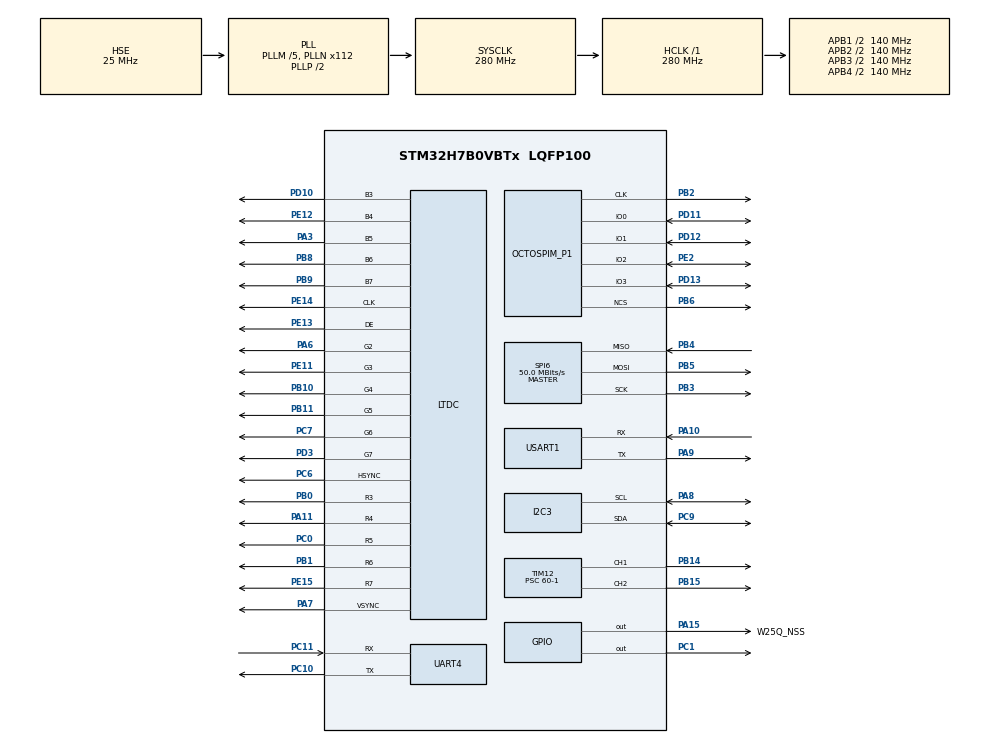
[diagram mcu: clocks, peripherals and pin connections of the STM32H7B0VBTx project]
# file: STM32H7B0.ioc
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ADC2.AWD1HighThreshold=0x3ffffff
ADC2.AWD1ITMode=ENABLE
ADC2.AWD1LowThreshold=0x4ccc
ADC2.Channel-0\#ChannelRegularConversion=ADC_CHANNEL_TEMPSENSOR
ADC2.ClockPrescaler=ADC_CLOCK_ASYNC_DIV8
ADC2.ContinuousConvMode=ENABLE
ADC2.EnableAnalogWatchDog1=true
ADC2.NbrOfConversionFlag=1
ADC2.OffsetNumber-0\#ChannelRegularConversion=ADC_OFFSET_NONE
ADC2.OffsetSignedSaturation-0\#ChannelRegularConversion=DISABLE
ADC2.Rank-0\#ChannelRegularConversion=1
ADC2.SamplingTime-0\#ChannelRegularConversion=ADC_SAMPLETIME_1CYCLE_5
ADC2.WatchdogChannel=ADC_CHANNEL_TEMPSENSOR
Bdma2.Request0=SPI6_TX
Bdma2.Request1=SPI6_RX
Bdma2.RequestsNb=2
Bdma2.SPI6_RX.1.Direction=DMA_PERIPH_TO_MEMORY
Bdma2.SPI6_RX.1.EventEnable=DISABLE
Bdma2.SPI6_RX.1.Instance=BDMA2_Channel2
Bdma2.SPI6_RX.1.MemDataAlignment=DMA_MDATAALIGN_BYTE
Bdma2.SPI6_RX.1.MemInc=DMA_MINC_ENABLE
Bdma2.SPI6_RX.1.Mode=DMA_NORMAL
Bdma2.SPI6_RX.1.PeriphDataAlignment=DMA_PDATAALIGN_BYTE
Bdma2.SPI6_RX.1.PeriphInc=DMA_PINC_DISABLE
Bdma2.SPI6_RX.1.Polarity=HAL_DMAMUX_REQ_GEN_RISING
Bdma2.SPI6_RX.1.Priority=DMA_PRIORITY_MEDIUM
Bdma2.SPI6_RX.1.RequestNumber=1
Bdma2.SPI6_RX.1.SignalID=NONE
Bdma2.SPI6_RX.1.SyncEnable=DISABLE
Bdma2.SPI6_RX.1.SyncPolarity=HAL_DMAMUX_SYNC_NO_EVENT
Bdma2.SPI6_RX.1.SyncRequestNumber=1
Bdma2.SPI6_RX.1.SyncSignalID=NONE
Bdma2.SPI6_TX.0.Direction=DMA_MEMORY_TO_PERIPH
Bdma2.SPI6_TX.0.EventEnable=DISABLE
Bdma2.SPI6_TX.0.Instance=BDMA2_Channel3
Bdma2.SPI6_TX.0.MemDataAlignment=DMA_MDATAALIGN_BYTE
Bdma2.SPI6_TX.0.MemInc=DMA_MINC_ENABLE
Bdma2.SPI6_TX.0.Mode=DMA_NORMAL
Bdma2.SPI6_TX.0.PeriphDataAlignment=DMA_PDATAALIGN_BYTE
Bdma2.SPI6_TX.0.PeriphInc=DMA_PINC_DISABLE
Bdma2.SPI6_TX.0.Polarity=HAL_DMAMUX_REQ_GEN_RISING
Bdma2.SPI6_TX.0.Priority=DMA_PRIORITY_MEDIUM
Bdma2.SPI6_TX.0.RequestNumber=1
Bdma2.SPI6_TX.0.SignalID=NONE
Bdma2.SPI6_TX.0.SyncEnable=DISABLE
Bdma2.SPI6_TX.0.SyncPolarity=HAL_DMAMUX_SYNC_NO_EVENT
Bdma2.SPI6_TX.0.SyncRequestNumber=1
Bdma2.SPI6_TX.0.SyncSignalID=NONE
CORTEX_M7.CPU_DCache=Enabled
CORTEX_M7.CPU_ICache=Enabled
CORTEX_M7.default_mode_Activation=0
DMA2D.ColorMode=DMA2D_OUTPUT_RGB565
Dma.ADC2.0.Direction=DMA_PERIPH_TO_MEMORY
Dma.ADC2.0.EventEnable=DISABLE
Dma.ADC2.0.FIFOMode=DMA_FIFOMODE_DISABLE
Dma.ADC2.0.Instance=DMA1_Stream0
Dma.ADC2.0.MemDataAlignment=DMA_MDATAALIGN_HALFWORD
Dma.ADC2.0.MemInc=DMA_MINC_ENABLE
Dma.ADC2.0.Mode=DMA_NORMAL
Dma.ADC2.0.PeriphDataAlignment=DMA_PDATAALIGN_HALFWORD
Dma.ADC2.0.PeriphInc=DMA_PINC_DISABLE
Dma.ADC2.0.Polarity=HAL_DMAMUX_REQ_GEN_RISING
Dma.ADC2.0.Priority=DMA_PRIORITY_LOW
Dma.ADC2.0.RequestNumber=1
Dma.ADC2.0.SignalID=NONE
Dma.ADC2.0.SyncEnable=DISABLE
Dma.ADC2.0.SyncPolarity=HAL_DMAMUX_SYNC_NO_EVENT
Dma.ADC2.0.SyncRequestNumber=1
Dma.ADC2.0.SyncSignalID=NONE
Dma.I2C3_RX.4.Direction=DMA_PERIPH_TO_MEMORY
Dma.I2C3_RX.4.EventEnable=DISABLE
Dma.I2C3_RX.4.FIFOMode=DMA_FIFOMODE_DISABLE
Dma.I2C3_RX.4.Instance=DMA1_Stream4
Dma.I2C3_RX.4.MemDataAlignment=DMA_MDATAALIGN_BYTE
Dma.I2C3_RX.4.MemInc=DMA_MINC_ENABLE
Dma.I2C3_RX.4.Mode=DMA_CIRCULAR
Dma.I2C3_RX.4.PeriphDataAlignment=DMA_PDATAALIGN_BYTE
Dma.I2C3_RX.4.PeriphInc=DMA_PINC_DISABLE
Dma.I2C3_RX.4.Polarity=HAL_DMAMUX_REQ_GEN_RISING
Dma.I2C3_RX.4.Priority=DMA_PRIORITY_LOW
Dma.I2C3_RX.4.RequestNumber=1
Dma.I2C3_RX.4.SignalID=NONE
Dma.I2C3_RX.4.SyncEnable=DISABLE
Dma.I2C3_RX.4.SyncPolarity=HAL_DMAMUX_SYNC_NO_EVENT
Dma.I2C3_RX.4.SyncRequestNumber=1
Dma.I2C3_RX.4.SyncSignalID=NONE
Dma.I2C3_TX.3.Direction=DMA_MEMORY_TO_PERIPH
Dma.I2C3_TX.3.EventEnable=DISABLE
Dma.I2C3_TX.3.FIFOMode=DMA_FIFOMODE_DISABLE
Dma.I2C3_TX.3.Instance=DMA1_Stream3
Dma.I2C3_TX.3.MemDataAlignment=DMA_MDATAALIGN_BYTE
Dma.I2C3_TX.3.MemInc=DMA_MINC_ENABLE
Dma.I2C3_TX.3.Mode=DMA_NORMAL
Dma.I2C3_TX.3.PeriphDataAlignment=DMA_PDATAALIGN_BYTE
Dma.I2C3_TX.3.PeriphInc=DMA_PINC_DISABLE
Dma.I2C3_TX.3.Polarity=HAL_DMAMUX_REQ_GEN_RISING
Dma.I2C3_TX.3.Priority=DMA_PRIORITY_LOW
Dma.I2C3_TX.3.RequestNumber=1
Dma.I2C3_TX.3.SignalID=NONE
Dma.I2C3_TX.3.SyncEnable=DISABLE
Dma.I2C3_TX.3.SyncPolarity=HAL_DMAMUX_SYNC_NO_EVENT
Dma.I2C3_TX.3.SyncRequestNumber=1
Dma.I2C3_TX.3.SyncSignalID=NONE
Dma.Request0=ADC2
Dma.Request1=USART1_RX
Dma.Request2=USART1_TX
Dma.Request3=I2C3_TX
Dma.Request4=I2C3_RX
Dma.Request5=UART4_RX
Dma.Request6=UART4_TX
Dma.UART4_RX.5.Direction=DMA_PERIPH_TO_MEMORY
Dma.UART4_RX.5.EventEnable=DISABLE
Dma.UART4_RX.5.FIFOMode=DMA_FIFOMODE_DISABLE
Dma.UART4_RX.5.Instance=DMA1_Stream5
Dma.UART4_RX.5.MemDataAlignment=DMA_MDATAALIGN_BYTE
Dma.UART4_RX.5.MemInc=DMA_MINC_ENABLE
Dma.UART4_RX.5.Mode=DMA_CIRCULAR
Dma.UART4_RX.5.PeriphDataAlignment=DMA_PDATAALIGN_BYTE
Dma.UART4_RX.5.PeriphInc=DMA_PINC_DISABLE
Dma.UART4_RX.5.Polarity=HAL_DMAMUX_REQ_GEN_RISING
Dma.UART4_RX.5.Priority=DMA_PRIORITY_LOW
Dma.UART4_RX.5.RequestNumber=1
Dma.UART4_RX.5.SignalID=NONE
Dma.UART4_RX.5.SyncEnable=DISABLE
Dma.UART4_RX.5.SyncPolarity=HAL_DMAMUX_SYNC_NO_EVENT
Dma.UART4_RX.5.SyncRequestNumber=1
Dma.UART4_RX.5.SyncSignalID=NONE
Dma.UART4_TX.6.Direction=DMA_MEMORY_TO_PERIPH
Dma.UART4_TX.6.EventEnable=DISABLE
Dma.UART4_TX.6.FIFOMode=DMA_FIFOMODE_DISABLE
Dma.UART4_TX.6.Instance=DMA1_Stream6
Dma.UART4_TX.6.MemDataAlignment=DMA_MDATAALIGN_BYTE
Dma.UART4_TX.6.MemInc=DMA_MINC_ENABLE
Dma.UART4_TX.6.Mode=DMA_NORMAL
Dma.UART4_TX.6.PeriphDataAlignment=DMA_PDATAALIGN_BYTE
Dma.UART4_TX.6.PeriphInc=DMA_PINC_DISABLE
Dma.UART4_TX.6.Polarity=HAL_DMAMUX_REQ_GEN_RISING
Dma.UART4_TX.6.Priority=DMA_PRIORITY_LOW
Dma.UART4_TX.6.RequestNumber=1
Dma.UART4_TX.6.SignalID=NONE
Dma.UART4_TX.6.SyncEnable=DISABLE
Dma.UART4_TX.6.SyncPolarity=HAL_DMAMUX_SYNC_NO_EVENT
Dma.UART4_TX.6.SyncRequestNumber=1
Dma.UART4_TX.6.SyncSignalID=NONE
Dma.USART1_RX.1.Direction=DMA_PERIPH_TO_MEMORY
Dma.USART1_RX.1.EventEnable=DISABLE
Dma.USART1_RX.1.FIFOMode=DMA_FIFOMODE_DISABLE
Dma.USART1_RX.1.Instance=DMA1_Stream1
Dma.USART1_RX.1.MemDataAlignment=DMA_MDATAALIGN_BYTE
Dma.USART1_RX.1.MemInc=DMA_MINC_ENABLE
Dma.USART1_RX.1.Mode=DMA_CIRCULAR
Dma.USART1_RX.1.PeriphDataAlignment=DMA_PDATAALIGN_BYTE
Dma.USART1_RX.1.PeriphInc=DMA_PINC_DISABLE
Dma.USART1_RX.1.Polarity=HAL_DMAMUX_REQ_GEN_RISING
Dma.USART1_RX.1.Priority=DMA_PRIORITY_MEDIUM
Dma.USART1_RX.1.RequestNumber=1
Dma.USART1_RX.1.SignalID=NONE
Dma.USART1_RX.1.SyncEnable=DISABLE
Dma.USART1_RX.1.SyncPolarity=HAL_DMAMUX_SYNC_NO_EVENT
Dma.USART1_RX.1.SyncRequestNumber=1
Dma.USART1_RX.1.SyncSignalID=NONE
Dma.USART1_TX.2.Direction=DMA_MEMORY_TO_PERIPH
Dma.USART1_TX.2.EventEnable=DISABLE
Dma.USART1_TX.2.FIFOMode=DMA_FIFOMODE_DISABLE
Dma.USART1_TX.2.Instance=DMA1_Stream2
Dma.USART1_TX.2.MemDataAlignment=DMA_MDATAALIGN_BYTE
Dma.USART1_TX.2.MemInc=DMA_MINC_ENABLE
Dma.USART1_TX.2.Mode=DMA_NORMAL
Dma.USART1_TX.2.PeriphDataAlignment=DMA_PDATAALIGN_BYTE
Dma.USART1_TX.2.PeriphInc=DMA_PINC_DISABLE
Dma.USART1_TX.2.Polarity=HAL_DMAMUX_REQ_GEN_RISING
Dma.USART1_TX.2.Priority=DMA_PRIORITY_MEDIUM
Dma.USART1_TX.2.RequestNumber=1
Dma.USART1_TX.2.SignalID=NONE
Dma.USART1_TX.2.SyncEnable=DISABLE
Dma.USART1_TX.2.SyncPolarity=HAL_DMAMUX_SYNC_NO_EVENT
Dma.USART1_TX.2.SyncRequestNumber=1
Dma.USART1_TX.2.SyncSignalID=NONE
FREERTOS.BinarySemaphores01=BinarySem_DebugOutPut,Dynamic,NULL
FREERTOS.Events01=Event_lowPower,Dynamic,NULL
FREERTOS.INCLUDE_xEventGroupSetBitFromISR=1
FREERTOS.Mutexes01=Mutex_Usart1,Dynamic,NULL
FREERTOS.Tasks01=defaultTask,24,128,StartDefaultTask,As weak,NULL,Dynamic,NULL,NULL;testTask,48,128,StartTasktest,As weak,NULL,Static,testTaskBuffer,testTaskControlBlock;lowPowerTask,24,128,StartTask_lowPower,As weak,NULL,Dynamic,NULL,NULL
FREERTOS.configENABLE_FPU=1
I2C3.Timing=0x20B0CCFF
LTDC.ActiveH=480
LTDC.ActiveW=800
LTDC.Alpha_L0=255
LTDC.FBStartAdress_L0=0x24000000
LTDC.HBP=80
LTDC.HFP=200
LTDC.HSync=1
LTDC.ImageHeight_L0=480
LTDC.ImageWidth_L0=800
LTDC.Layers=0
LTDC.PixelFormat_L0=LTDC_PIXEL_FORMAT_RGB565
LTDC.VBP=40
LTDC.VFP=22
LTDC.VSync=1
LTDC.WindowX1_L0=800
LTDC.WindowY1_L0=480
Mcu.Family=STM32H7
Mcu.Name=STM32H7B0VBTx
Mcu.Package=LQFP100
NVIC.ADC_IRQn=true\:5\:0\:false\:false\:true\:true\:true\:true\:true
NVIC.BDMA2_Channel2_IRQn=true\:5\:0\:false\:false\:true\:true\:false\:true\:true
NVIC.BDMA2_Channel3_IRQn=true\:5\:0\:false\:false\:true\:true\:false\:true\:true
NVIC.DMA1_Stream0_IRQn=true\:9\:0\:true\:false\:true\:true\:false\:true\:true
NVIC.DMA1_Stream1_IRQn=true\:9\:0\:true\:false\:true\:true\:false\:true\:true
NVIC.DMA1_Stream2_IRQn=true\:9\:0\:true\:false\:true\:true\:false\:true\:true
NVIC.DMA1_Stream3_IRQn=true\:5\:0\:false\:false\:true\:true\:false\:true\:true
NVIC.DMA1_Stream4_IRQn=true\:5\:0\:false\:false\:true\:true\:false\:true\:true
NVIC.DMA1_Stream5_IRQn=true\:5\:0\:false\:false\:true\:true\:false\:true\:true
NVIC.DMA1_Stream6_IRQn=true\:5\:0\:false\:false\:true\:true\:false\:true\:true
NVIC.DMA2D_IRQn=true\:6\:0\:true\:false\:true\:true\:true\:true\:true
NVIC.I2C3_ER_IRQn=true\:5\:0\:false\:false\:true\:true\:true\:true\:true
NVIC.I2C3_EV_IRQn=true\:5\:0\:false\:false\:true\:true\:true\:true\:true
NVIC.LTDC_IRQn=true\:6\:0\:true\:false\:true\:true\:true\:true\:true
NVIC.PriorityGroup=NVIC_PRIORITYGROUP_4
NVIC.SPI6_IRQn=true\:5\:0\:false\:false\:true\:true\:true\:true\:true
NVIC.TIM17_IRQn=true\:0\:0\:true\:false\:true\:false\:false\:true\:true
NVIC.TimeBase=TIM17_IRQn
NVIC.TimeBaseIP=TIM17
NVIC.UART4_IRQn=true\:5\:0\:false\:false\:true\:true\:true\:true\:true
NVIC.USART1_IRQn=true\:5\:0\:false\:false\:true\:true\:true\:true\:true
OCTOSPI1.ChipSelectBoundary=0
OCTOSPI1.ClockMode=HAL_OSPI_CLOCK_MODE_3
OCTOSPI1.ClockPrescaler=2
OCTOSPI1.DeviceSize=23
OCTOSPI1.FifoThreshold=8
OCTOSPI1.SampleShifting=HAL_OSPI_SAMPLE_SHIFTING_HALFCYCLE
PA10.Mode=Asynchronous
PA10.Signal=USART1_RX
PA11.GPIO_Speed=GPIO_SPEED_FREQ_VERY_HIGH
PA11.Mode=RGB565
PA11.Signal=LTDC_R4
PA15.GPIO_Label=W25Q_NSS
PA15.GPIO_Speed=GPIO_SPEED_FREQ_VERY_HIGH
PA15.PinState=GPIO_PIN_SET
PA15.Signal=GPIO_Output
PA3.GPIO_Speed=GPIO_SPEED_FREQ_VERY_HIGH
PA3.Mode=RGB565
PA3.Signal=LTDC_B5
PA6.GPIO_Speed=GPIO_SPEED_FREQ_VERY_HIGH
PA6.Mode=RGB565
PA6.Signal=LTDC_G2
PA7.GPIO_Speed=GPIO_SPEED_FREQ_VERY_HIGH
PA7.Mode=RGB565
PA7.Signal=LTDC_VSYNC
PA8.Mode=I2C
PA8.Signal=I2C3_SCL
PA9.Mode=Asynchronous
PA9.Signal=USART1_TX
PB0.GPIO_Speed=GPIO_SPEED_FREQ_VERY_HIGH
PB0.Mode=RGB565
PB0.Signal=LTDC_R3
PB1.GPIO_Speed=GPIO_SPEED_FREQ_VERY_HIGH
PB1.Mode=RGB565
PB1.Signal=LTDC_R6
PB10.GPIO_Speed=GPIO_SPEED_FREQ_VERY_HIGH
PB10.Mode=RGB565
PB10.Signal=LTDC_G4
PB11.GPIO_Speed=GPIO_SPEED_FREQ_VERY_HIGH
PB11.Mode=RGB565
PB11.Signal=LTDC_G5
PB14.Signal=S_TIM12_CH1
PB15.Signal=S_TIM12_CH2
PB2.Mode=O1_P1_CLK
PB2.Signal=OCTOSPIM_P1_CLK
PB3.GPIO_Speed=GPIO_SPEED_FREQ_VERY_HIGH
PB3.Mode=Full_Duplex_Master
PB3.Signal=SPI6_SCK
PB4.GPIO_Speed=GPIO_SPEED_FREQ_VERY_HIGH
PB4.Mode=Full_Duplex_Master
PB4.Signal=SPI6_MISO
PB5.GPIO_Speed=GPIO_SPEED_FREQ_VERY_HIGH
PB5.Mode=Full_Duplex_Master
PB5.Signal=SPI6_MOSI
PB6.Mode=OCTOSPI1_Port1_NCS
PB6.Signal=OCTOSPIM_P1_NCS
PB8.GPIO_Speed=GPIO_SPEED_FREQ_VERY_HIGH
PB8.Mode=RGB565
PB8.Signal=LTDC_B6
PB9.GPIO_Speed=GPIO_SPEED_FREQ_VERY_HIGH
PB9.Mode=RGB565
PB9.Signal=LTDC_B7
PC0.GPIO_Speed=GPIO_SPEED_FREQ_VERY_HIGH
PC0.Mode=RGB565
PC0.Signal=LTDC_R5
PC1.Signal=GPIO_Output
PC10.Mode=Asynchronous
PC10.Signal=UART4_TX
PC11.Mode=Asynchronous
PC11.Signal=UART4_RX
PC14-OSC32_IN.Mode=LSE-External-Oscillator
PC14-OSC32_IN.Signal=RCC_OSC32_IN
PC15-OSC32_OUT.Mode=LSE-External-Oscillator
PC15-OSC32_OUT.Signal=RCC_OSC32_OUT
PC6.GPIO_Speed=GPIO_SPEED_FREQ_VERY_HIGH
PC6.Mode=RGB565
PC6.Signal=LTDC_HSYNC
PC7.GPIO_Speed=GPIO_SPEED_FREQ_VERY_HIGH
PC7.Mode=RGB565
PC7.Signal=LTDC_G6
PC9.Mode=I2C
PC9.Signal=I2C3_SDA
PD10.GPIO_Speed=GPIO_SPEED_FREQ_VERY_HIGH
PD10.Mode=RGB565
PD10.Signal=LTDC_B3
PD11.Mode=OCTOSPI1_IOL_Port1L
PD11.Signal=OCTOSPIM_P1_IO0
PD12.Mode=OCTOSPI1_IOL_Port1L
PD12.Signal=OCTOSPIM_P1_IO1
PD13.Mode=OCTOSPI1_IOL_Port1L
PD13.Signal=OCTOSPIM_P1_IO3
PD3.GPIO_Speed=GPIO_SPEED_FREQ_VERY_HIGH
PD3.Mode=RGB565
PD3.Signal=LTDC_G7
PD5.Signal=USART2_TX
PE11.GPIO_Speed=GPIO_SPEED_FREQ_VERY_HIGH
PE11.Mode=RGB565
PE11.Signal=LTDC_G3
PE12.GPIO_Speed=GPIO_SPEED_FREQ_VERY_HIGH
PE12.Mode=RGB565
PE12.Signal=LTDC_B4
PE13.GPIO_Speed=GPIO_SPEED_FREQ_VERY_HIGH
PE13.Mode=RGB565
PE13.Signal=LTDC_DE
PE14.GPIO_Speed=GPIO_SPEED_FREQ_VERY_HIGH
PE14.Mode=RGB565
PE14.Signal=LTDC_CLK
PE15.GPIO_Speed=GPIO_SPEED_FREQ_VERY_HIGH
PE15.Mode=RGB565
PE15.Signal=LTDC_R7
PE2.Mode=OCTOSPI1_IOL_Port1L
PE2.Signal=OCTOSPIM_P1_IO2
PH0-OSC_IN.Mode=HSE-External-Oscillator
PH0-OSC_IN.Signal=RCC_OSC_IN
PH1-OSC_OUT.Mode=HSE-External-Oscillator
PH1-OSC_OUT.Signal=RCC_OSC_OUT
ProjectManager.HeapSize=0x16000
ProjectManager.StackSize=0x12000
ProjectManager.TargetToolchain=MDK-ARM V5.32
RCC.ADCFreq_Value=20000000
RCC.APB1Freq_Value=140000000
RCC.APB2Freq_Value=140000000
RCC.APB3Freq_Value=140000000
RCC.APB4Freq_Value=140000000
RCC.CDPPRE=RCC_APB3_DIV2
RCC.CDPPRE1=RCC_APB1_DIV2
RCC.CDPPRE2=RCC_APB2_DIV2
RCC.CortexFreq_Value=280000000
RCC.DIVM1=5
RCC.DIVM2=2
RCC.DIVM3=2
RCC.DIVN1=112
RCC.DIVN2=40
RCC.DIVN3=11
RCC.DIVP2=25
RCC.DIVQ2=5
RCC.DIVR3=1
RCC.HCLKFreq_Value=280000000
RCC.HSE_VALUE=25000000
RCC.PLL1_VCI_Range-AdvancedSettings=RCC_PLL1VCIRANGE_0
RCC.PLL2_VCI_Range-AdvancedSettings=RCC_PLL2VCIRANGE_1
RCC.PLL2_VCO_SEL-AdvancedSettings=RCC_PLL2VCOMEDIUM
RCC.PLLSourceVirtual=RCC_PLLSOURCE_HSE
RCC.SPI6CLockSelection=RCC_SPI6CLKSOURCE_PLL2
RCC.SRDPPRE=RCC_APB4_DIV2
RCC.SYSCLKFreq_VALUE=280000000
RCC.SYSCLKSource=RCC_SYSCLKSOURCE_PLLCLK
RCC.SupplySource=PWR_LDO_SUPPLY
RCC.USBFreq_Value=280000000
SH.S_TIM12_CH1.0=TIM12_CH1,PWM Generation1 CH1
SH.S_TIM12_CH2.0=TIM12_CH2,PWM Generation2 CH2
SPI6.BaudRatePrescaler=SPI_BAUDRATEPRESCALER_2
SPI6.CalculateBaudRate=50.0 MBits/s
SPI6.DataSize=SPI_DATASIZE_8BIT
SPI6.Direction=SPI_DIRECTION_2LINES
SPI6.FifoThreshold=SPI_FIFO_THRESHOLD_01DATA
SPI6.MasterKeepIOState=SPI_MASTER_KEEP_IO_STATE_DISABLE
SPI6.Mode=SPI_MODE_MASTER
SPI6.NSSPMode=SPI_NSS_PULSE_DISABLE
SPI6.VirtualType=VM_MASTER
TIM12.AutoReloadPreload=TIM_AUTORELOAD_PRELOAD_ENABLE
TIM12.Channel-PWM\ Generation1\ CH1=TIM_CHANNEL_1
TIM12.Channel-PWM\ Generation2\ CH2=TIM_CHANNEL_2
TIM12.Period=10000-1
TIM12.Prescaler=60-1
TIM12.Pulse-PWM\ Generation1\ CH1=4999
TIM12.Pulse-PWM\ Generation2\ CH2=4999
USART1.VirtualMode-Asynchronous=VM_ASYNC
VP_ADC2_TempSens_Input.Mode=IN-TempSens
VP_DMA2D_VS_DMA2D.Mode=DMA2D_Activate
VP_FREERTOS_VS_CMSIS_V2.Mode=CMSIS_V2
VP_OCTOSPI1_VS_quad.Mode=quad_mode
VP_SYS_VS_tim17.Mode=TIM17
VP_TIM12_VS_ClockSourceINT.Mode=Internal
board=custom

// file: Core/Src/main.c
/* USER CODE BEGIN Header */
/**
  ******************************************************************************
  * @file           : main.c
  * @brief          : Main program body
  ******************************************************************************
  * @attention
  *
  * Copyright (c) 2023 STMicroelectronics.
  * All rights reserved.
  *
  * This software is licensed under terms that can be found in the LICENSE file
  * in the root directory of this software component.
  * If no LICENSE file comes with this software, it is provided AS-IS.
  *
  ******************************************************************************
  */
/* USER CODE END Header */
#include "main.h"
#include "cmsis_os.h"
#include "adc.h"
#include "bdma2.h"
#include "dma.h"
#include "dma2d.h"
#include "i2c.h"
#include "ltdc.h"
#include "octospi.h"
#include "spi.h"
#include "tim.h"
#include "usart.h"
#include "gpio.h"

/* USER CODE BEGIN Includes */
#include "led.h"
#include "kfifo.h"
#include "klist.h"
#include "common.h"
#include "com_component.h"
#include "shell_port.h"
#include "shell_port.h"
#include "perf_counter.h"

#define LOG_TAG    "main"
#include <elog.h>
#include "led.h"
#include "common.h"
#include "sfud.h"
#include "flashdb.h"
#include "fal.h"
#include "semphr.h"
#include "adc.h"
#include "usart.h"
#include "com_component.h"
#include "perf_counter.h"

//#include "cm_backtrace.h"

/* USER CODE END Includes */

/* USER CODE BEGIN PV */
//		 extern com_uart_t com;
/* USER CODE END PV */

void SystemClock_Config(void);
void PeriphCommonClock_Config(void);
void MX_FREERTOS_Init(void);

int main(void)
{
  /* USER CODE BEGIN 1 */
//cm_backtrace_init("0.1","0.1","0.1");
  /* USER CODE END 1 */

  /* Enable I-Cache---------------------------------------------------------*/
  SCB_EnableICache();

  /* Enable D-Cache---------------------------------------------------------*/
  SCB_EnableDCache();

  /* MCU Configuration--------------------------------------------------------*/

  /* Reset of all peripherals, Initializes the Flash interface and the Systick. */
  HAL_Init();

  /* USER CODE BEGIN Init */
	SCB->CACR|=1<<2;

  /* USER CODE END Init */

  /* Configure the system clock */
  SystemClock_Config();

/* Configure the peripherals common clocks */
  PeriphCommonClock_Config();

  /* Initialize all configured peripherals */
  MX_GPIO_Init();
  MX_DMA_Init();
  MX_BDMA2_Init();
  MX_DMA2D_Init();
  MX_LTDC_Init();
  MX_I2C3_Init();
  MX_SPI6_Init();
  MX_ADC2_Init();
  MX_USART1_UART_Init();
  MX_OCTOSPI1_Init();
  MX_UART4_Init();
  MX_TIM12_Init();
  /* USER CODE BEGIN 2 */

	    //! setup system clock

    /*! \brief Update SystemCoreClock with the latest CPU frequency
     *!        If the function doesn't exist or doesn't work correctly,
     *!        Please update SystemCoreClock directly with the correct
     *!        system frequency in Hz.
     *!
     *!        extern volatile uint32_t SystemCoreClock;
     */
    SystemCoreClockUpdate();

    /*! \brief initialize perf_counter() and pass true if SysTick is
     *!        occupied by user applications or RTOS, otherwise pass
     *!        false.
     */
    init_cycle_counter(true);
//  HAL_TIM_PWM_Start(&htim12, TIM_CHANNEL_1);  /* �?启定时器3通道1的PWM输出 */
//	__HAL_TIM_SetCompare(&htim12, TIM_CHANNEL_1, 9999);    //通过修改比较值来改变占空�?

#if 1

#include "com_component.h"

com_user_init();

#endif

//printf_test();

	//SPI_W25Qxx_Init();

  /* USER CODE END 2 */

  /* Init scheduler */
  osKernelInitialize();  /* Call init function for freertos objects (in freertos.c) */
  MX_FREERTOS_Init();

  /* Start scheduler */
  osKernelStart();

  /* We should never get here as control is now taken by the scheduler */
  /* Infinite loop */
  while (1)
  {

  }
}

void SystemClock_Config(void)
{
  RCC_OscInitTypeDef RCC_OscInitStruct = {0};
  RCC_ClkInitTypeDef RCC_ClkInitStruct = {0};

  /*AXI clock gating */
  RCC->CKGAENR = 0xFFFFFFFF;

  /** Supply configuration update enable
  */
  HAL_PWREx_ConfigSupply(PWR_LDO_SUPPLY);

  /** Configure the main internal regulator output voltage
  */
  __HAL_PWR_VOLTAGESCALING_CONFIG(PWR_REGULATOR_VOLTAGE_SCALE0);

  while(!__HAL_PWR_GET_FLAG(PWR_FLAG_VOSRDY)) {}

  /** Initializes the RCC Oscillators according to the specified parameters
  * in the RCC_OscInitTypeDef structure.
  */
  RCC_OscInitStruct.OscillatorType = RCC_OSCILLATORTYPE_HSE;
  RCC_OscInitStruct.HSEState = RCC_HSE_ON;
  RCC_OscInitStruct.PLL.PLLState = RCC_PLL_ON;
  RCC_OscInitStruct.PLL.PLLSource = RCC_PLLSOURCE_HSE;
  RCC_OscInitStruct.PLL.PLLM = 5;
  RCC_OscInitStruct.PLL.PLLN = 112;
  RCC_OscInitStruct.PLL.PLLP = 2;
  RCC_OscInitStruct.PLL.PLLQ = 2;
  RCC_OscInitStruct.PLL.PLLR = 2;
  RCC_OscInitStruct.PLL.PLLRGE = RCC_PLL1VCIRANGE_2;
  RCC_OscInitStruct.PLL.PLLVCOSEL = RCC_PLL1VCOWIDE;
  RCC_OscInitStruct.PLL.PLLFRACN = 0;
  if (HAL_RCC_OscConfig(&RCC_OscInitStruct) != HAL_OK)
  {
    Error_Handler();
  }

  /** Initializes the CPU, AHB and APB buses clocks
  */
  RCC_ClkInitStruct.ClockType = RCC_CLOCKTYPE_HCLK|RCC_CLOCKTYPE_SYSCLK
                              |RCC_CLOCKTYPE_PCLK1|RCC_CLOCKTYPE_PCLK2
                              |RCC_CLOCKTYPE_D3PCLK1|RCC_CLOCKTYPE_D1PCLK1;
  RCC_ClkInitStruct.SYSCLKSource = RCC_SYSCLKSOURCE_PLLCLK;
  RCC_ClkInitStruct.SYSCLKDivider = RCC_SYSCLK_DIV1;
  RCC_ClkInitStruct.AHBCLKDivider = RCC_HCLK_DIV1;
  RCC_ClkInitStruct.APB3CLKDivider = RCC_APB3_DIV2;
  RCC_ClkInitStruct.APB1CLKDivider = RCC_APB1_DIV2;
  RCC_ClkInitStruct.APB2CLKDivider = RCC_APB2_DIV2;
  RCC_ClkInitStruct.APB4CLKDivider = RCC_APB4_DIV2;

  if (HAL_RCC_ClockConfig(&RCC_ClkInitStruct, FLASH_LATENCY_6) != HAL_OK)
  {
    Error_Handler();
  }
}

void PeriphCommonClock_Config(void)
{
  RCC_PeriphCLKInitTypeDef PeriphClkInitStruct = {0};

  /** Initializes the peripherals clock
  */
  PeriphClkInitStruct.PeriphClockSelection = RCC_PERIPHCLK_SPI6|RCC_PERIPHCLK_ADC;
  PeriphClkInitStruct.PLL2.PLL2M = 2;
  PeriphClkInitStruct.PLL2.PLL2N = 40;
  PeriphClkInitStruct.PLL2.PLL2P = 25;
  PeriphClkInitStruct.PLL2.PLL2Q = 5;
  PeriphClkInitStruct.PLL2.PLL2R = 2;
  PeriphClkInitStruct.PLL2.PLL2RGE = RCC_PLL2VCIRANGE_3;
  PeriphClkInitStruct.PLL2.PLL2VCOSEL = RCC_PLL2VCOWIDE;
  PeriphClkInitStruct.PLL2.PLL2FRACN = 0;
  PeriphClkInitStruct.AdcClockSelection = RCC_ADCCLKSOURCE_PLL2;
  PeriphClkInitStruct.Spi6ClockSelection = RCC_SPI6CLKSOURCE_PLL2;
  if (HAL_RCCEx_PeriphCLKConfig(&PeriphClkInitStruct) != HAL_OK)
  {
    Error_Handler();
  }
}

void HAL_TIM_PeriodElapsedCallback(TIM_HandleTypeDef *htim)
{
  if (htim->Instance == TIM17) {
    HAL_IncTick();
  }
}

void Error_Handler(void)
{
  __disable_irq();
  while (1)
  {
  }
}

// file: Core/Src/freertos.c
/* USER CODE BEGIN Header */
/**
  ******************************************************************************
  * File Name          : freertos.c
  * Description        : Code for freertos applications
  ******************************************************************************
  * @attention
  *
  * Copyright (c) 2023 STMicroelectronics.
  * All rights reserved.
  *
  * This software is licensed under terms that can be found in the LICENSE file
  * in the root directory of this software component.
  * If no LICENSE file comes with this software, it is provided AS-IS.
  *
  ******************************************************************************
  */
/* USER CODE END Header */

#include "FreeRTOS.h"
#include "task.h"
#include "main.h"
#include "cmsis_os.h"

/* USER CODE BEGIN Includes */
#define LOG_TAG    "freertos"

#include "led.h"
#include "common.h"
#include "sfud.h"
#include "flashdb.h"
#include "fal.h"
#include "semphr.h"
#include "adc.h"
#include "usart.h"
#include "com_component.h"
#include "perf_counter.h"
#include "sht30.h"

#include "elog.h"
#include "tim.h"
#include "tim_pwm.h"

/* USER CODE END Includes */

typedef StaticTask_t osStaticThreadDef_t;
/* USER CODE BEGIN PTD */
	#include "ins330.h"
	static ins330_t ins330;
/* USER CODE END PTD */

/* USER CODE BEGIN Variables */
SemaphoreHandle_t xMutex_Usart1;

/* USER CODE END Variables */
/* Definitions for defaultTask */
osThreadId_t defaultTaskHandle;
const osThreadAttr_t defaultTask_attributes = {
  .name = "defaultTask",
  .stack_size = 128 * 4,
  .priority = (osPriority_t) osPriorityNormal,
};
/* Definitions for testTask */
osThreadId_t testTaskHandle;
uint32_t testTaskBuffer[ 128 ];
osStaticThreadDef_t testTaskControlBlock;
const osThreadAttr_t testTask_attributes = {
  .name = "testTask",
  .cb_mem = &testTaskControlBlock,
  .cb_size = sizeof(testTaskControlBlock),
  .stack_mem = &testTaskBuffer[0],
  .stack_size = sizeof(testTaskBuffer),
  .priority = (osPriority_t) osPriorityRealtime,
};
/* Definitions for lowPowerTask */
osThreadId_t lowPowerTaskHandle;
const osThreadAttr_t lowPowerTask_attributes = {
  .name = "lowPowerTask",
  .stack_size = 128 * 4,
  .priority = (osPriority_t) osPriorityNormal,
};
/* Definitions for Mutex_Usart1 */
osMutexId_t Mutex_Usart1Handle;
const osMutexAttr_t Mutex_Usart1_attributes = {
  .name = "Mutex_Usart1"
};
/* Definitions for BinarySem_DebugOutPut */
osSemaphoreId_t BinarySem_DebugOutPutHandle;
const osSemaphoreAttr_t BinarySem_DebugOutPut_attributes = {
  .name = "BinarySem_DebugOutPut"
};
/* Definitions for Event_lowPower */
osEventFlagsId_t Event_lowPowerHandle;
const osEventFlagsAttr_t Event_lowPower_attributes = {
  .name = "Event_lowPower"
};

/* USER CODE BEGIN FunctionPrototypes */

static uint32_t boot_count = 0;
static time_t boot_time[10] = {0, 1, 2, 3};
/* default KV nodes */
static struct fdb_default_kv_node default_kv_table[] = {
        {"username", "armink", 0}, /* string KV */
        {"password", "123456", 0}, /* string KV */
        {"boot_count", &boot_count, sizeof(boot_count)}, /* int type KV */
        {"boot_time", &boot_time, sizeof(boot_time)},    /* int array type KV */
};
/* KVDB object */
static struct fdb_kvdb kvdb = { 0 };
/* TSDB object */
struct fdb_tsdb tsdb = { 0 };
/* counts for simulated timestamp */
//static int counts = 0;

extern void kvdb_basic_sample(fdb_kvdb_t kvdb);
extern void kvdb_type_string_sample(fdb_kvdb_t kvdb);
extern void kvdb_type_blob_sample(fdb_kvdb_t kvdb);
extern void tsdb_sample(fdb_tsdb_t tsdb);

static fdb_time_t get_time(void)
{
    /* Using the counts instead of timestamp.
     * Please change this function to return RTC time.
     */
    return get_system_ms();
}
/* USER CODE END FunctionPrototypes */

void StartDefaultTask(void *argument);
void StartTasktest(void *argument);
void StartTask_lowPower(void *argument);

void MX_FREERTOS_Init(void); /* (MISRA C 2004 rule 8.1) */

void MX_FREERTOS_Init(void) {
  /* Create the mutex(es) */
  /* creation of Mutex_Usart1 */
  Mutex_Usart1Handle = osMutexNew(&Mutex_Usart1_attributes);

  /* USER CODE BEGIN RTOS_MUTEX */
  /* add mutexes, ... */
	    xMutex_Usart1 = xSemaphoreCreateRecursiveMutex( );

  /* USER CODE END RTOS_MUTEX */

  /* Create the semaphores(s) */
  /* creation of BinarySem_DebugOutPut */
  BinarySem_DebugOutPutHandle = osSemaphoreNew(1, 1, &BinarySem_DebugOutPut_attributes);

  /* Create the thread(s) */
  /* creation of defaultTask */
  defaultTaskHandle = osThreadNew(StartDefaultTask, NULL, &defaultTask_attributes);

  /* creation of testTask */
  testTaskHandle = osThreadNew(StartTasktest, NULL, &testTask_attributes);

  /* creation of lowPowerTask */
  lowPowerTaskHandle = osThreadNew(StartTask_lowPower, NULL, &lowPowerTask_attributes);

  /* creation of Event_lowPower */
  Event_lowPowerHandle = osEventFlagsNew(&Event_lowPower_attributes);

}

__weak void StartDefaultTask(void *argument)
{
  /* USER CODE BEGIN StartDefaultTask */

	ins330_init(&ins330);
	uint8_t data;
  /* Infinite loop */
  for(;;)
  {
		int size = com_rx_inquire_data(&com2);
		for(int i=0;i<size;++i){

			com_rx_get(&com2,&data,1,0);
			ins330_handle(&ins330,data);
		}
    osDelay(10);

  }
  /* USER CODE END StartDefaultTask */
}

/* USER CODE BEGIN Header_StartTasktest */

void HAL_ADC_LevelOutOfWindowCallback(ADC_HandleTypeDef *hadc)
{

	//log_d("this is a test of lowerpower callback\r\n");
	osEventFlagsSet(Event_lowPowerHandle, 0x001U);

	//while(1);

}

/**
* @brief Function implementing the testTask thread.
* @param argument: Not used
* @retval None
*/
/* USER CODE END Header_StartTasktest */
__weak void StartTasktest(void *argument)
{
  /* USER CODE BEGIN StartTasktest */
	extern void userShellInit(void);
	userShellInit();			//

		/* 初始化elog */
	elog_init();
	/* 设置每个级别的日志输出格*/
	elog_set_fmt(ELOG_LVL_ASSERT, ELOG_FMT_ALL);
	//输出日志级别信息和日志TAG
	elog_set_fmt(ELOG_LVL_ERROR, ELOG_FMT_LVL | ELOG_FMT_TAG);
	elog_set_fmt(ELOG_LVL_WARN, ELOG_FMT_LVL | ELOG_FMT_TAG);
	elog_set_fmt(ELOG_LVL_INFO, ELOG_FMT_LVL | ELOG_FMT_TAG);
	elog_set_fmt(ELOG_LVL_DEBUG, ELOG_FMT_LVL | ELOG_FMT_TAG);
	//除了时间、进程信息线程信息之外，其余全部输出
	//elog_set_fmt(ELOG_LVL_DEBUG, ELOG_FMT_ALL & ~(ELOG_FMT_TIME | ELOG_FMT_P_INFO | ELOG_FMT_T_INFO));

	elog_set_fmt(ELOG_LVL_VERBOSE, ELOG_FMT_ALL);
	elog_set_text_color_enabled(true);
	/* 启动elog */
	elog_start();

	extern void var_init(void);
	var_init();

	tim_pwm_init(&pwm0,&htim12,TIM_CHANNEL_1,140000000);
	//tim_pwm_auto_updata_clock(&pwm0);
	HAL_TIM_PWM_Start(&htim12,TIM_CHANNEL_1);
	HAL_TIM_PWM_Start(&htim12,TIM_CHANNEL_2);
//		log_d(" %d",pwm0.clock_freq);
//		float freq = tim_pwm_get_freq(&pwm0);
//			//log_d("duty = %f\n",tim_pwm_get_duty(&pwm0));
//		log_d("freq = %f\n",freq);
//			//tim_pwm_auto_updata_clock(&pwm0);

	tim_pwm_set_freq(&pwm0,8000);
	tim_pwm_set_duty(&pwm0,0.5);

  sfud_init();
	fal_init();
	sfud_flash* dev = sfud_get_device(SFUD_W25Q64JV_SPI_DEVICE_INDEX);
	extern void sfud_test(uint32_t addr);
	sfud_test(0);
//	const struct fal_partition *part  = fal_partition_find("fdb_kvdb1");

//if(fal_partition_erase_all(part)!=0)log_e("erase error");
	fdb_err_t result;

#if 0
    { /* KVDB Sample */
        struct fdb_default_kv default_kv;

        default_kv.kvs = default_kv_table;
        default_kv.num = sizeof(default_kv_table) / sizeof(default_kv_table[0]);
        /* set the lock and unlock function if you want */
//        fdb_kvdb_control(&kvdb, FDB_KVDB_CTRL_SET_LOCK, (void *)lock);
//        fdb_kvdb_control(&kvdb, FDB_KVDB_CTRL_SET_UNLOCK, (void *)unlock);
        /* Key-Value database initialization
         *
         *       &kvdb: database object
         *       "env": database name
         * "fdb_kvdb1": The flash partition name base on FAL. Please make sure it's in FAL partition table.
         *              Please change to YOUR partition name.
         * &default_kv: The default KV nodes. It will auto add to KVDB when first initialize successfully.
         *        NULL: The user data if you need, now is empty.
         */
        result = fdb_kvdb_init(&kvdb, "env", "fdb_kvdb1", &default_kv, NULL);

        if (result != FDB_NO_ERR) {
            //return ;
        }

        /* run basic KV samples */
        kvdb_basic_sample(&kvdb);
        /* run string KV samples */
        //kvdb_type_string_sample(&kvdb);
        /* run blob KV samples */
        //kvdb_type_blob_sample(&kvdb);
    }
#endif /* FDB_USING_KVDB */

#if 0
    { /* TSDB Sample */
        /* set the lock and unlock function if you want */
       // fdb_tsdb_control(&tsdb, FDB_TSDB_CTRL_SET_LOCK, (void *)lock);
        //fdb_tsdb_control(&tsdb, FDB_TSDB_CTRL_SET_UNLOCK, (void *)unlock);
        /* Time series database initialization
         *
         *       &tsdb: database object
         *       "log": database name
         * "fdb_tsdb1": The flash partition name base on FAL. Please make sure it's in FAL partition table.
         *              Please change to YOUR partition name.
         *    get_time: The get current timestamp function.
         *         128: maximum length of each log
         *        NULL: The user data if you need, now is empty.
         */
				uint64_t counts=0;
        result = fdb_tsdb_init(&tsdb, "log", "fdb_tsdb1", get_time, 128, NULL);
        /* read last saved time for simulated timestamp */
        fdb_tsdb_control(&tsdb, FDB_TSDB_CTRL_GET_LAST_TIME, &counts);

        if (result != FDB_NO_ERR) {
            return ;
        }

        /* run TSDB sample */
        //tsdb_sample(&tsdb);
    }
#endif /* FDB_USING_TSDB */
			char test[]="\nthis is a test\n";
	char test1[]="\nthis is a test1\n";
		log_e("test");
  sht30_init();
  /* Infinite loop */
  for(;;)
  {

//	com_comunite(&com_test,tx,(uint8_t*)test,sizeof(test));
//	com_comunite(&com_test,tx,(uint8_t*)test1,sizeof(test1));
    LED1_Toggle;
//		static int i=2;
//		i=i++;
	//printf("yufewgfuye%d\n",i);
		//log_i("i=%d\n",i);
		//log_d("\tin=%d\n",com.txfifo->in);
		//log_d("\tout=%d\n",com.txfifo->out);
		//log_i("free=%d\n",kfifo_get_free(com1_tx.txfifo));
		//log_d("i=\n");

		//report_tempRH_json();
//		log_d("duty = %f\n",tim_pwm_get_duty(&pwm0));
//		log_d("freq = %f\n",tim_pwm_get_freq(&pwm0));
//		log_d("clock = %d\n",pwm0.clock_freq);

		ins330_show_test(&ins330);

		osDelay(100);

//		    static char str[]="tast1234567890 12345\r\n";
//    com_tx(&com,(uint8_t*)str,sizeof(str));
//		 //com_communite(&com,&task,0);

  }
  /* USER CODE END StartTasktest */
}

/* USER CODE BEGIN Header_StartTask_lowPower */
uint32_t flags ;

void lowPowerHandle(void)
{
		if(flags==1){
			//log_d("Low power !! please charge\r\n");
		}
}

uint32_t ADC_ConvertedValue;

/**
* @brief Function implementing the lowPowerTask thread.
* @param argument: Not used
* @retval None
*/
/* USER CODE END Header_StartTask_lowPower */
__weak void StartTask_lowPower(void *argument)
{
  for(;;)
  {
    osDelay(1);
  }
}

/* USER CODE BEGIN Application */
void HAL_ADC_ConvCpltCallback(ADC_HandleTypeDef *hadc)
{
	ADC_ConvertedValue = HAL_ADC_GetValue(hadc);

	//log_d("adc value %d\r\n",ADC_ConvertedValue);

  HAL_ADC_Start_IT(hadc); //�????启ADC中断转换

}

/* USER CODE END Application */
